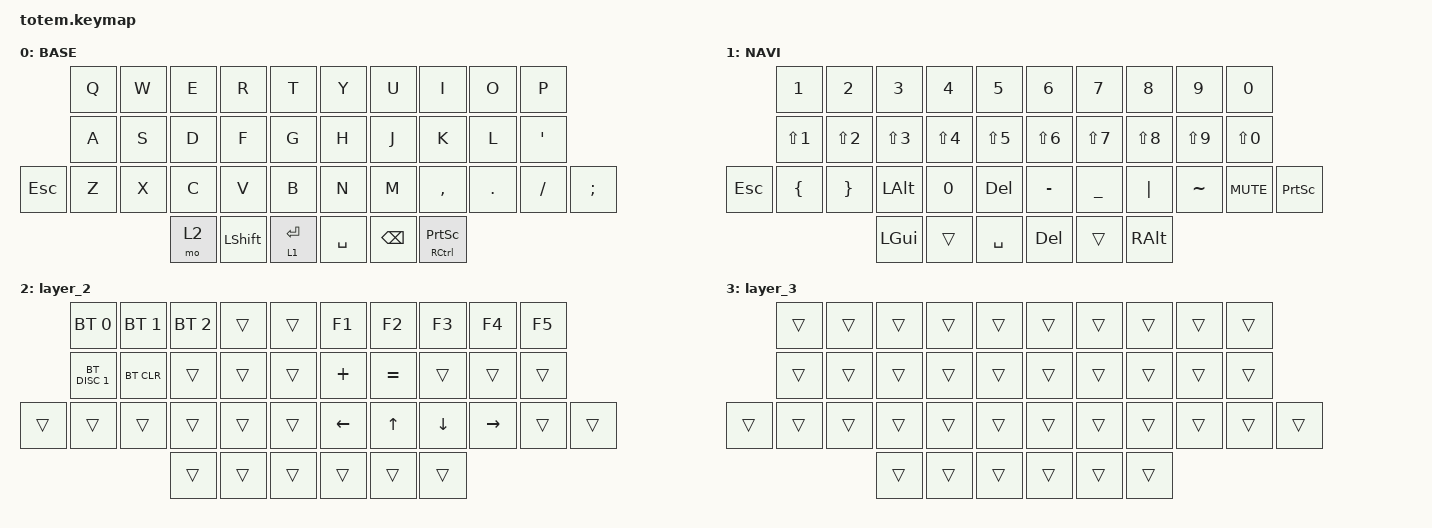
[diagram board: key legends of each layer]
//
//                                                        ▀▀▀▀▀     ▀▀▀▀▀          ▀▀█▀▀
//                                                        ▄▀▀▀▄  ▄  ▄▀▀▀▄  ▄  ▄▀▀▀▄  █  ▄▀▀▀▄
//                                                        █   █  █  █   █  █  █   █  █  █   █
//                                                         ▀▀▀   █   ▀▀▀   █   ▀▀▀   ▀   ▀▀▀
//                                                               █      ▄▄▄█▄▄▄    █   █  
//                                                               ▀      █  █  █     █▄█
//                                                             ▀▀▀▀▀    █  █  █      ▀
//                                                                      ▀  ▀  ▀
//
// ▄▄▄▄▄▄▄▄▄▄▄▄▄▄▄▄▄▄▄▄▄▄▄▄▄▄▄▄▄▄▄▄▄▄▄▄▄▄▄▄▄▄▄▄▄▄▄▄▄▄▄▄▄▄▄▄▄▄▄▄▄▄▄▄▄▄▄▄▄▄▄▄▄▄▄▄▄▄▄▄▄▄▄▄▄▄▄▄▄▄▄▄▄▄▄▄▄▄▄▄▄▄▄▄▄▄▄▄▄▄▄▄▄▄▄▄▄▄▄▄▄▄▄▄▄▄▄▄▄▄▄▄▄▄▄▄▄▄▄▄▄▄▄▄▄▄▄▄▄

#include <behaviors.dtsi>
#include <dt-bindings/zmk/bt.h>
#include <dt-bindings/zmk/keys.h>

#define BASE 0
#define NAV  1
#define SYM  2
#define ADJ  3
#define TVP1 4
#define TVP2 5

&mt {
    quick-tap-ms = <100>;
    global-quick-tap;
    flavor = "tap-preferred";
    tapping-term-ms = <170>;
};

/ {
    combos {
        compatible = "zmk,combos";

        c1 {
            bindings = <&kp LSHIFT>;
            key-positions = <21 22 23>;
        };

        c2 {
            bindings = <&kp RIGHT>;
            key-positions = <12 13>;
        };

        c3 {
            bindings = <&kp LEFT>;
            key-positions = <12 11>;
        };

        c4 {
            bindings = <&kp UP>;
            key-positions = <12 1>;
        };

        c5 {
            bindings = <&kp DOWN>;
            key-positions = <12 22>;
        };
    };

    behaviors {
        td0: td0 {
            compatible = "zmk,behavior-tap-dance";
            label = "TD0";
            #binding-cells = <0>;
            bindings = <&mt0 1 SPACE>, <&mt LCTRL ESCAPE>;

            tapping-term-ms = <170>;
        };

        mt0: mt0 {
            compatible = "zmk,behavior-hold-tap";
            label = "MT0";
            bindings = <&mo>, <&kp>;

            #binding-cells = <2>;
            tapping-term-ms = <170>;
            hold-trigger-key-positions = <33>;
        };

        mt1: mt1 {
            compatible = "zmk,behavior-hold-tap";
            label = "MT1";
            bindings = <&mo>, <&kp>;

            #binding-cells = <2>;
            tapping-term-ms = <170>;
            hold-trigger-key-positions = <36>;
        };

        td1: td1 {
            compatible = "zmk,behavior-tap-dance";
            label = "TD1";
            #binding-cells = <0>;
            bindings = <&mt1 1 SPACE>, <&mt CAPSLOCK RSHFT>;

            tapping-term-ms = <170>;
        };

        td2: td2 {
            compatible = "zmk,behavior-hold-tap";
            label = "TD2";
            bindings = <&mo>, <&kp>;

            #binding-cells = <2>;
            tapping-term-ms = <200>;
            hold-trigger-key-positions = <34>;
        };

        td3: td3 {
            compatible = "zmk,behavior-tap-dance";
            label = "TD3";
            #binding-cells = <0>;
            bindings = <&mt RS(P) P>, <&mt QUESTION SLASH>;
        };

        td4: td4 {
            compatible = "zmk,behavior-tap-dance";
            label = "TD4";
            #binding-cells = <0>;
            bindings = <&mt COLON SEMICOLON>, <&mt SQT DOUBLE_QUOTES>;

            tapping-term-ms = <200>;
        };

        td5: td5 {
            compatible = "zmk,behavior-tap-dance";
            label = "TD5";
            #binding-cells = <0>;
            bindings = <&mt LS(Q) Q>, <&mt TILDE GRAVE>;

            tapping-term-ms = <200>;
        };
    };

    keymap {
        compatible = "zmk,keymap";

        // ▄▄▄▄▄▄▄▄▄▄▄▄▄▄▄▄▄▄▄▄▄▄▄▄▄▄▄▄▄▄▄▄▄▄▄▄▄▄▄▄▄▄▄▄▄▄▄▄▄▄▄▄▄▄▄▄▄▄▄▄▄▄▄▄▄▄▄▄▄▄▄▄▄▄▄▄▄▄▄▄▄▄▄▄▄▄▄▄▄▄▄▄▄▄▄▄▄▄▄▄▄▄▄▄▄▄▄▄▄▄▄▄▄▄▄▄▄▄▄▄▄▄▄▄▄▄▄▄▄▄▄▄▄▄▄▄▄▄▄▄▄▄▄▄▄▄▄▄▄

        base_layer {
            // ┏━━━━━━━━━━━━━━━━━━━━━━━━━━━━━━━━━━━━━━━┓

            label = "BASE";

            // ┗━━━━━━━━━━━━━━━━━━━━━━━━━━━━━━━━━━━━━━━┛
            //             ┏━━━━━━━━━━━┳━━━━━━━━━━━┳━━━━━━━━━━━┳━━━━━━━━━━━┳━━━━━━━━━━━┓   ┏━━━━━━━━━━━┳━━━━━━━━━━━┳━━━━━━━━━━━┳━━━━━━━━━━━┳━━━━━━━━━━━┓
            //             ┃     Q     ┃     W     ┃     F     ┃     P     ┃     G     ┃   ┃     J     ┃     L     ┃     U     ┃     Y     ┃     ;     ┃
            //             ┣━━━━━━━━━━━╋━━━━━━━━━━━╋━━━━━━━━━━━╋━━━━━━━━━━━╋━━━━━━━━━━━┫   ┣━━━━━━━━━━━╋━━━━━━━━━━━╋━━━━━━━━━━━╋━━━━━━━━━━━╋━━━━━━━━━━━┫
            //             ┃     A     ┃     R     ┃     S     ┃     T     ┃     D     ┃   ┃     H     ┃     N     ┃     E     ┃     I     ┃     O     ┃
            // ┏━━━━━━━━━━━╋━━━━━━━━━━━╋━━━━━━━━━━━╋━━━━━━━━━━━╋━━━━━━━━━━━╋━━━━━━━━━━━┫   ┣━━━━━━━━━━━╋━━━━━━━━━━━╋━━━━━━━━━━━╋━━━━━━━━━━━╋━━━━━━━━━━━╋━━━━━━━━━━━┓
            // ┃     Q     ┃     Z     ┃     X     ┃     C     ┃     V     ┃     B     ┃   ┃     K     ┃     M     ┃     ,     ┃     .     ┃     /     ┃     \     ┃
            // ┗━━━━━━━━━━━┻━━━━━━━━━━━┻━━━━━━━━━━━╋━━━━━━━━━━━╋━━━━━━━━━━━╋━━━━━━━━━━━┫   ┣━━━━━━━━━━━╋━━━━━━━━━━━╋━━━━━━━━━━━╋━━━━━━━━━━━┻━━━━━━━━━━━┻━━━━━━━━━━━┛
            //                                     ┃    DEL    ┃    TAB    ┃    SPC    ┃   ┃   ENTER   ┃           ┃   BSPC    ┃
            //                                     ┗━━━━━━━━━━━┻━━━━━━━━━━━┻━━━━━━━━━━━┛   ┗━━━━━━━━━━━┻━━━━━━━━━━━┻━━━━━━━━━━━┛

            bindings = <
            &kp Q  &kp W  &kp E  &kp R           &kp T         &kp Y      &kp U          &kp I                  &kp O    &kp P
            &kp A  &kp S  &kp D  &kp F           &kp G         &kp H      &kp J          &kp K                  &kp L    &kp SQT
&kp ESCAPE  &kp Z  &kp X  &kp C  &kp V           &kp B         &kp N      &kp M          &kp COMMA              &kp DOT  &kp FSLH  &kp SEMI
                          &mo 2  &kp LEFT_SHIFT  &td2 1 ENTER  &kp SPACE  &kp BACKSPACE  &mt RCTRL PRINTSCREEN
            >;
        };

        // ▄▄▄▄▄▄▄▄▄▄▄▄▄▄▄▄▄▄▄▄▄▄▄▄▄▄▄▄▄▄▄▄▄▄▄▄▄▄▄▄▄▄▄▄▄▄▄▄▄▄▄▄▄▄▄▄▄▄▄▄▄▄▄▄▄▄▄▄▄▄▄▄▄▄▄▄▄▄▄▄▄▄▄▄▄▄▄▄▄▄▄▄▄▄▄▄▄▄▄▄▄▄▄▄▄▄▄▄▄▄▄▄▄▄▄▄▄▄▄▄▄▄▄▄▄▄▄▄▄▄▄▄▄▄▄▄▄▄▄▄▄▄▄▄▄▄▄▄▄

        nav_layer {
            // ┏━━━━━━━━━━━━━━━━━━━━━━━━━━━━━━━━━━━━━━━┓

            label = "NAVI";

            // ┗━━━━━━━━━━━━━━━━━━━━━━━━━━━━━━━━━━━━━━━┛
            //             ┏━━━━━━━━━━━┳━━━━━━━━━━━┳━━━━━━━━━━━┳━━━━━━━━━━━┳━━━━━━━━━━━┓   ┏━━━━━━━━━━━┳━━━━━━━━━━━┳━━━━━━━━━━━┳━━━━━━━━━━━┳━━━━━━━━━━━┓
            //             ┃           ┃           ┃     UP    ┃           ┃     {     ┃   ┃     }     ┃     7     ┃     8     ┃     9     ┃     +     ┃
            //             ┣━━━━━━━━━━━╋━━━━━━━━━━━╋━━━━━━━━━━━╋━━━━━━━━━━━╋━━━━━━━━━━━┫   ┣━━━━━━━━━━━╋━━━━━━━━━━━╋━━━━━━━━━━━╋━━━━━━━━━━━╋━━━━━━━━━━━┫
            //             ┃   SHIFT   ┃   LEFT    ┃    DOWN   ┃   RIGHT   ┃     [     ┃   ┃     ]     ┃     4     ┃     5     ┃     6     ┃     -     ┃
            // ┏━━━━━━━━━━━╋━━━━━━━━━━━╋━━━━━━━━━━━╋━━━━━━━━━━━╋━━━━━━━━━━━╋━━━━━━━━━━━┫   ┣━━━━━━━━━━━╋━━━━━━━━━━━╋━━━━━━━━━━━╋━━━━━━━━━━━╋━━━━━━━━━━━╋━━━━━━━━━━━┓
            // ┃           ┃           ┃   P UP    ┃  C LOCK   ┃  P DOWN   ┃     (     ┃   ┃     )     ┃     1     ┃     2     ┃     3     ┃     *     ┃           ┃
            // ┗━━━━━━━━━━━┻━━━━━━━━━━━┻━━━━━━━━━━━╋━━━━━━━━━━━╋━━━━━━━━━━━╋━━━━━━━━━━━┫   ┣━━━━━━━━━━━╋━━━━━━━━━━━╋━━━━━━━━━━━╋━━━━━━━━━━━┻━━━━━━━━━━━┻━━━━━━━━━━━┛
            //                                     ┃           ┃    TAB    ┃    SPC    ┃   ┃    DEL    ┃     0     ┃           ┃
            //                                     ┗━━━━━━━━━━━┻━━━━━━━━━━━┻━━━━━━━━━━━┛   ┗━━━━━━━━━━━┻━━━━━━━━━━━┻━━━━━━━━━━━┛

            bindings = <
         &kp NUMBER_1      &kp NUMBER_2      &kp NUMBER_3      &kp NUMBER_4      &kp NUMBER_5  &kp NUMBER_6      &kp N7      &kp N8      &kp N9      &kp N0
         &kp LS(NUMBER_1)  &kp LS(NUMBER_2)  &kp LS(NUMBER_3)  &kp LS(NUMBER_4)  &kp LS(N5)    &kp LS(NUMBER_6)  &kp LS(N7)  &kp LS(N8)  &kp LS(N9)  &kp LS(N0)
&kp ESC  &kp LEFT_BRACE    &kp RIGHT_BRACE   &kp LEFT_ALT      &kp NUMBER_0      &kp DEL       &kp MINUS         &kp UNDER   &kp PIPE    &kp TILDE   &kp C_MUTE  &kp PRINTSCREEN
                                             &kp LGUI          &trans            &kp SPACE     &kp DELETE        &trans      &kp RALT
            >;
        };

        layer_2 {
            bindings = <
        &bt BT_SEL 0   &bt BT_SEL 1  &bt BT_SEL 2  &trans  &trans  &kp F1    &kp F2        &kp F3          &kp F4     &kp F5
        &bt BT_DISC 1  &bt BT_CLR    &trans        &trans  &trans  &kp PLUS  &kp EQUAL     &trans          &trans     &trans
&trans  &trans         &trans        &trans        &trans  &trans  &kp LEFT  &kp UP_ARROW  &kp DOWN_ARROW  &kp RIGHT  &trans  &trans
                                     &trans        &trans  &trans  &trans    &trans        &trans
            >;
        };

        layer_3 {
            bindings = <
        &trans  &trans  &trans  &trans  &trans  &trans  &trans  &trans  &trans  &trans
        &trans  &trans  &trans  &trans  &trans  &trans  &trans  &trans  &trans  &trans
&trans  &trans  &trans  &trans  &trans  &trans  &trans  &trans  &trans  &trans  &trans  &trans
                        &trans  &trans  &trans  &trans  &trans  &trans
            >;
        };

        // ▄▄▄▄▄▄▄▄▄▄▄▄▄▄▄▄▄▄▄▄▄▄▄▄▄▄▄▄▄▄▄▄▄▄▄▄▄▄▄▄▄▄▄▄▄▄▄▄▄▄▄▄▄▄▄▄▄▄▄▄▄▄▄▄▄▄▄▄▄▄▄▄▄▄▄▄▄▄▄▄▄▄▄▄▄▄▄▄▄▄▄▄▄▄▄▄▄▄▄▄▄▄▄▄▄▄▄▄▄▄▄▄▄▄▄▄▄▄▄▄▄▄▄▄▄▄▄▄▄▄▄▄▄▄▄▄▄▄▄▄▄▄▄▄▄▄▄▄▄
        // ▄▄▄▄▄▄▄▄▄▄▄▄▄▄▄▄▄▄▄▄▄▄▄▄▄▄▄▄▄▄▄▄▄▄▄▄▄▄▄▄▄▄▄▄▄▄▄▄▄▄▄▄▄▄▄▄▄▄▄▄▄▄▄▄▄▄▄▄▄▄▄▄▄▄▄▄▄▄▄▄▄▄▄▄▄▄▄▄▄▄▄▄▄▄▄▄▄▄▄▄▄▄▄▄▄▄▄▄▄▄▄▄▄▄▄▄▄▄▄▄▄▄▄▄▄▄▄▄▄▄▄▄▄▄▄▄▄▄▄▄▄▄▄▄▄▄▄▄▄
        // ▄▄▄▄▄▄▄▄▄▄▄▄▄▄▄▄▄▄▄▄▄▄▄▄▄▄▄▄▄▄▄▄▄▄▄▄▄▄▄▄▄▄▄▄▄▄▄▄▄▄▄▄▄▄▄▄▄▄▄▄▄▄▄▄▄▄▄▄▄▄▄▄▄▄▄▄▄▄▄▄▄▄▄▄▄▄▄▄▄▄▄▄▄▄▄▄▄▄▄▄▄▄▄▄▄▄▄▄▄▄▄▄▄▄▄▄▄▄▄▄▄▄▄▄▄▄▄▄▄▄▄▄▄▄▄▄▄▄▄▄▄▄▄▄▄▄▄▄▄
        // ▄▄▄▄▄▄▄▄▄▄▄▄▄▄▄▄▄▄▄▄▄▄▄▄▄▄▄▄▄▄▄▄▄▄▄▄▄▄▄▄▄▄▄▄▄▄▄▄▄▄▄▄▄▄▄▄▄▄▄▄▄▄▄▄▄▄▄▄▄▄▄▄▄▄▄▄▄▄▄▄▄▄▄▄▄▄▄▄▄▄▄▄▄▄▄▄▄▄▄▄▄▄▄▄▄▄▄▄▄▄▄▄▄▄▄▄▄▄▄▄▄▄▄▄▄▄▄▄▄▄▄▄▄▄▄▄▄▄▄▄▄▄▄▄▄▄▄▄▄
    };
};
